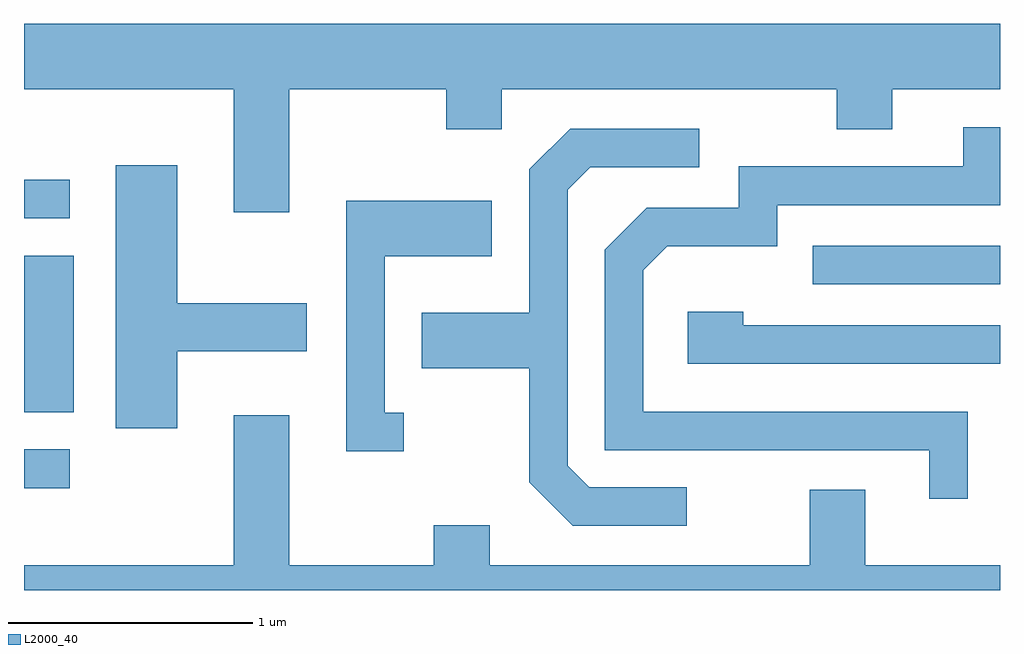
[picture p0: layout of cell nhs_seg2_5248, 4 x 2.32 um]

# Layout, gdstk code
import gdstk
lib = gdstk.Library(unit=1e-6, precision=1e-09)
def R(c, l, rs):  # rectangles x0, y0, x1, y1
    for r in rs: c.add(gdstk.rectangle(r[:2], r[2:], *l))
def P(c, l, *ps):  # polygons
    for p in ps: c.add(gdstk.Polygon(p, *l))
L2000_40 = (2000, 40)

nhs_seg2_5248 = lib.new_cell('nhs_seg2_5248')
R(nhs_seg2_5248, L2000_40, [(339.611,1062.221,339.798,1062.379), (339.611,1062.531,339.814,1063.174), (342.843,1063.056,343.611,1063.214), (339.611,1063.326,339.798,1063.484)])
P(nhs_seg2_5248, L2000_40, [(340.699,1063.856),(341.341,1063.856),(341.341,1063.691),(341.569,1063.691),(341.569,1063.856),(342.941,1063.856),(342.941,1063.691),(343.169,1063.691),(343.169,1063.856),(343.611,1063.856),(343.611,1064.124),(339.611,1064.124),(339.611,1063.856),(340.471,1063.856),(340.471,1063.351),(340.699,1063.351)],
  [(343.479,1062.534),(342.149,1062.534),(342.149,1063.114),(342.247,1063.211),(342.699,1063.211),(342.699,1063.381),(343.611,1063.381),(343.611,1063.699),(343.461,1063.699),(343.461,1063.539),(342.541,1063.539),(342.541,1063.369),(342.164,1063.369),(341.991,1063.197),(341.991,1062.376),(343.321,1062.376),(343.321,1062.178),(343.479,1062.178)],
  [(342.328,1062.224),(341.927,1062.224),(341.839,1062.312),(341.839,1063.444),(341.932,1063.536),(342.378,1063.536),(342.378,1063.694),(341.849,1063.694),(341.681,1063.527),(341.681,1062.939),(341.241,1062.939),(341.241,1062.711),(341.681,1062.711),(341.681,1062.244),(341.859,1062.066),(342.328,1062.066)],
  [(340.239,1062.781),(340.769,1062.781),(340.769,1062.979),(340.239,1062.979),(340.239,1063.544),(339.986,1063.544),(339.986,1062.466),(340.239,1062.466)],
  [(341.168,1062.529),(341.089,1062.529),(341.089,1063.171),(341.529,1063.171),(341.529,1063.399),(340.931,1063.399),(340.931,1062.371),(341.168,1062.371)],
  [(343.611,1062.889),(342.559,1062.889),(342.559,1062.944),(342.331,1062.944),(342.331,1062.731),(343.611,1062.731)],
  [(343.611,1061.904),(343.059,1061.904),(343.059,1062.214),(342.831,1062.214),(342.831,1061.904),(341.519,1061.904),(341.519,1062.069),(341.291,1062.069),(341.291,1061.904),(340.699,1061.904),(340.699,1062.519),(340.471,1062.519),(340.471,1061.904),(339.611,1061.904),(339.611,1061.802),(343.611,1061.802)])

lib.write_gds('nhs_seg2_5248.gds')
